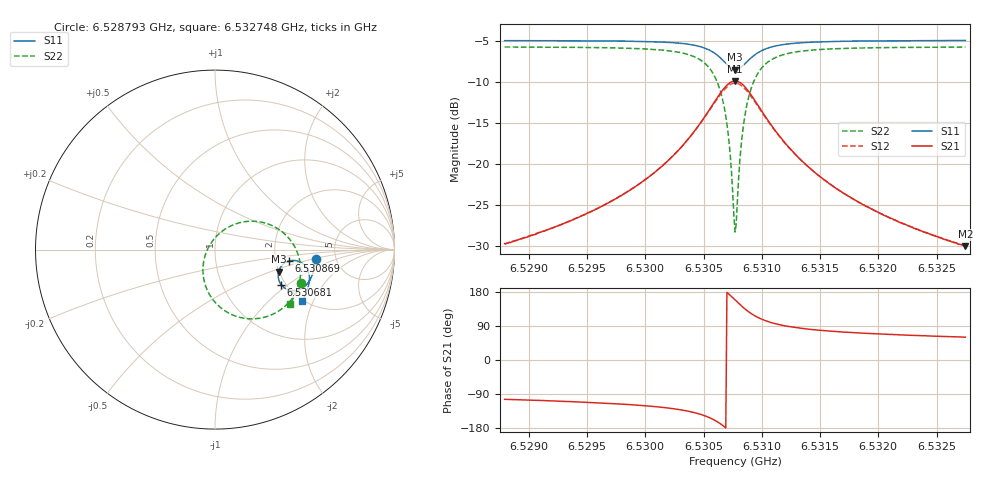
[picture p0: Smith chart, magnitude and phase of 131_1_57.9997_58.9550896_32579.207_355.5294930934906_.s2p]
#  HZ  S  RI  R  50.00
! Rohde & Schwarz Vector Network Analyzer
! Rohde-Schwarz,ZNB20-2Port,1311601062101988,3.16
! Created: UTC 3/21/2024, 12:56:07 AM
! freq[Hz]  re:S11  im:S11  re:S21  im:S21  re:S12  im:S12  re:S22  im:S22
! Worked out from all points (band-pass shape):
!   401 points, 6.528793 GHz to 6.532748 GHz, reference 50 ohm
!   highest |S21| = -9.90 dB at 6.53077 GHz (marker M1); lowest = -30.0 dB at 6.532748 GHz (marker M2)
!   |S21| within 3 dB of the highest: 6.530574 GHz to 6.530969 GHz (394.9 kHz wide, 0.00605 % of centre)
!   lowest |S11| = -8.5 dB at 6.53077 GHz (marker M3), VSWR 2.20, Z = 99.6 - j28.3 ohm
!   |S11| at or under -10 dB: nowhere
!   |S22| runs from -28.3 to -5.8 dB; largest |S21 - S12| = 0.013
!   S11 on the Smith chart (normalised r, x): 6.528793 GHz: 3.49, -0.54; 6.530681 GHz: 1.89, -0.89; 6.530869 GHz: 2.36, -0.36; 6.532748 GHz: 1.97, -1.66
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6.5287929e9  0.5606 -0.0531  -0.00775 -0.0317  -0.00831 -0.0313  0.4815 -0.1835
6.5294553e9  0.5512 -0.1092  -0.0173 -0.045  -0.0184 -0.0445  0.4492 -0.2462
6.529831e9  0.5402 -0.1452  -0.0302 -0.0591  -0.0318 -0.0584  0.4148 -0.2914
6.5301177e9  0.5241 -0.1775  -0.0521 -0.0772  -0.0545 -0.0758  0.3646 -0.3358
6.5303451e9  0.497 -0.208  -0.0934 -0.0978  -0.0963 -0.0944  0.2807 -0.3753
6.5305131e9  0.4521 -0.2281  -0.1644 -0.105  -0.1667 -0.098  0.1498 -0.3801
6.530612e9  0.4056 -0.223  -0.2368 -0.078  -0.236 -0.0677  0.0283 -0.3207
6.5306812e9  0.3687 -0.1949  -0.2907 -0.0174  -0.2844 -0.0066  -0.0504 -0.2081
6.5307208e9  0.3546 -0.1658  -0.3076 0.0375  -0.298 0.0463  -0.0674 -0.1136
6.5307603e9  0.3529 -0.1309  -0.3032 0.1006  -0.2914 0.1056  -0.0474 -0.0113
6.5307702e9  0.3547 -0.1221  -0.2982 0.1162  -0.2862 0.1201  -0.036 0.0132
6.5307801e9  0.3576 -0.1135  -0.2914 0.1312  -0.2796 0.1338  -0.0223 0.0363
6.53079e9  0.3614 -0.1054  -0.2835 0.1452  -0.2717 0.147  -0.00645 0.0578
6.5308295e9  0.3834 -0.0787  -0.2406 0.1909  -0.2305 0.189  0.0723 0.124
6.5308691e9  0.4113 -0.0639  -0.1897 0.2151  -0.1824 0.2118  0.1606 0.1548
6.5309383e9  0.4563 -0.0625  -0.1112 0.2179  -0.1074 0.2145  0.2928 0.1437
6.5310371e9  0.4959 -0.0843  -0.0435 0.186  -0.0417 0.184  0.4022 0.0734
6.5311854e9  0.5195 -0.1207  -0.00228 0.1377  -0.0011 0.137  0.4622 -0.0253
6.5314326e9  0.5263 -0.1646  0.0152 0.0902  0.0164 0.0898  0.4775 -0.1256
6.5317193e9  0.5216 -0.1998  0.0184 0.0623  0.0195 0.0621  0.4681 -0.1906
6.532095e9  0.5105 -0.2356  0.0179 0.0433  0.0187 0.0431  0.4493 -0.2437
6.5327475e9  0.487 -0.2862  0.0156 0.0273  0.0162 0.0271  0.4154 -0.3038
